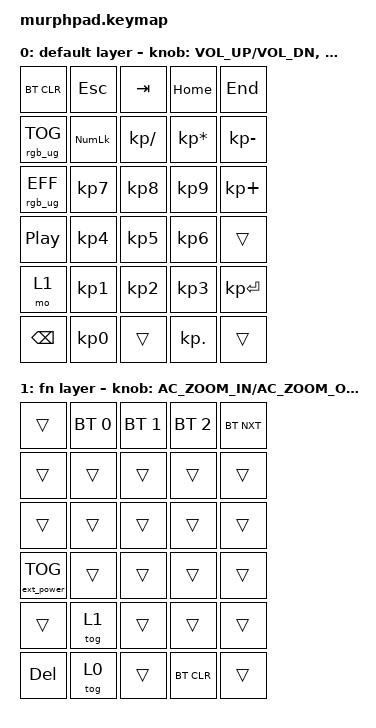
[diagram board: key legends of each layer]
/*
 * Copyright (c) 2021 The ZMK Contributors
 *
 * SPDX-License-Identifier: MIT
 */

#include <behaviors.dtsi>
#include <dt-bindings/zmk/keys.h>
#include <dt-bindings/zmk/bt.h>
#include <dt-bindings/zmk/rgb.h>
#include <dt-bindings/zmk/ext_power.h>


#define TIMEOUT 300

&encoder_1 {
    status = "okay";
};

&encoder_2 {
    status = "okay";
};

/ {
    combos {
        compatible = "zmk,combos";
        combo_btclr {
            timeout-ms = <TIMEOUT>;
            key-positions = <1 6>;
            bindings = <&bt BT_CLR>;
        };
        combo_reset {
            timeout-ms = <TIMEOUT>;
            key-positions = <1 3>;
            bindings = <&reset>;
        };
        combo_bootloader {
            timeout-ms = <TIMEOUT>;
            key-positions = <1 2>;
            bindings = <&bootloader>;
        };
        combo_bt_nxt {
            timeout-ms = <TIMEOUT>;
            key-positions = <1 4>;
            bindings = <&bt BT_NXT>;
        };
    };
    
    sensors {
        compatible = "zmk,keymap-sensors";
        sensors = <&encoder_1 &encoder_2>;
    };


    keymap0: keymap {
        compatible = "zmk,keymap";

        default_layer {
            label = "default layer";
            bindings = <
                &bt BT_CLR       &kp ESC      &kp TAB         &kp HOME     	&kp END
                &rgb_ug RGB_TOG  &kp KP_NLCK  &kp KP_DIVIDE   &kp KP_MULTIPLY   &kp KP_MINUS    
                &rgb_ug RGB_EFF  &kp KP_N7    &kp KP_N8       &kp KP_N9         &kp KP_PLUS   
                &kp C_PLAY_PAUSE &kp KP_N4    &kp KP_N5       &kp KP_N6         &trans
                &mo 1            &kp KP_N1    &kp KP_N2       &kp KP_N3         &kp KP_ENTER
                &kp BSPC         &kp KP_N0    &trans          &kp KP_DOT        &trans
            >;
            sensor-bindings = <&inc_dec_kp C_VOL_UP C_VOL_DN &inc_dec_kp PG_UP PG_DN>;

        }; 
        
        fn_layer {
            label = "fn layer";
            bindings = <
                &trans      	   &bt BT_SEL 0 &bt BT_SEL 1  &bt BT_SEL 2    &bt BT_NXT  
                &trans      	   &trans       &trans        &trans          &trans     
                &trans      	   &trans       &trans        &trans          &trans
                &ext_power EP_TOG  &trans       &trans        &trans          &trans    
                &trans      	   &tog 1       &trans        &trans          &trans
                &kp DEL     	   &tog 0       &trans        &bt BT_CLR      &trans
            >;  
            sensor-bindings = <&inc_dec_kp C_AC_ZOOM_IN C_AC_ZOOM_OUT &inc_dec_kp C_VOL_UP C_VOL_DN>;
                
        };
    };
};
